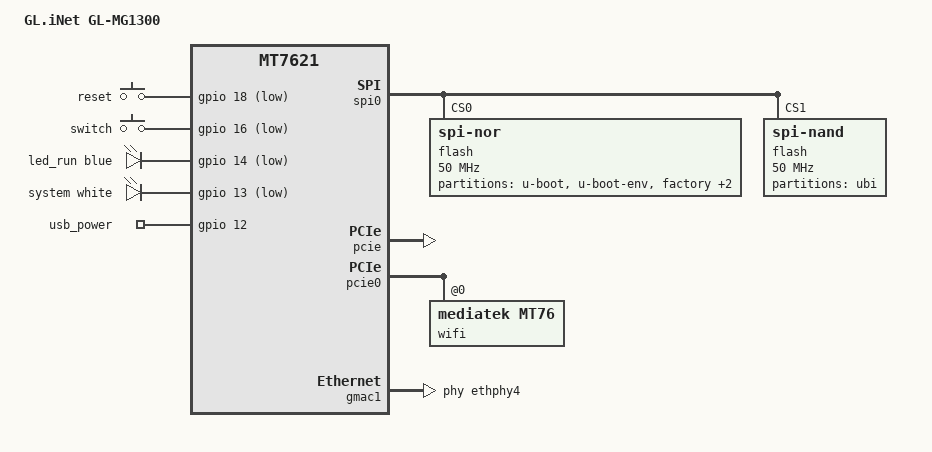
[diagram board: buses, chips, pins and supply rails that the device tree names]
// SPDX-License-Identifier: GPL-2.0-or-later OR MIT

#include "mt7621.dtsi"

#include <dt-bindings/gpio/gpio.h>
#include <dt-bindings/input/input.h>
#include <dt-bindings/leds/common.h>

/ {
	compatible = "glinet,gl-mg1300", "mediatek,mt7621-soc";
	model = "GL.iNet GL-MG1300";

	aliases {
		led-boot = &led_run;
		led-failsafe = &led_run;
		led-running = &led_run;
		led-upgrade = &led_run;
		label-mac-device = &gmac1;
	};

	chosen {
		bootargs = "console=ttyS0,115200";
	};

	keys {
		compatible = "gpio-keys";

		reset {
			label = "reset";
			gpios = <&gpio 18 GPIO_ACTIVE_LOW>;
			linux,code = <KEY_RESTART>;
		};

		switch {
			label = "switch";
			gpios = <&gpio 16 GPIO_ACTIVE_LOW>;
			linux,code = <BTN_0>;
			linux,input-type = <EV_SW>;
		};
	};

	leds {
		compatible = "gpio-leds";

		led_run: run {
			color = <LED_COLOR_ID_BLUE>;
			function = "run";
			gpios = <&gpio 14 GPIO_ACTIVE_LOW>;
		};

		system {
			color = <LED_COLOR_ID_WHITE>;
			function = "system";
			gpios = <&gpio 13 GPIO_ACTIVE_LOW>;
		};
	};

	gpio-export {
		compatible = "gpio-export";

		usb_power {
			gpio-export,name = "usb_power";
			gpio-export,output = <1>;
			gpios = <&gpio 12 GPIO_ACTIVE_HIGH>;
		};
	};
};

&spi0 {
	status = "okay";

	flash@0 {
		compatible = "jedec,spi-nor";
		reg = <0>;
		spi-max-frequency = <50000000>;
		broken-flash-reset;

		partitions {
			compatible = "fixed-partitions";
			#address-cells = <1>;
			#size-cells = <1>;

			partition@0 {
				label = "u-boot";
				reg = <0x0 0x80000>;
				read-only;
			};

			partition@80000 {
				label = "u-boot-env";
				reg = <0x80000 0x10000>;
				read-only;
			};

			partition@90000 {
				label = "factory";
				reg = <0x90000 0x10000>;
				read-only;

				nvmem-layout {
					compatible = "fixed-layout";
					#address-cells = <1>;
					#size-cells = <1>;

					eeprom_factory_0: eeprom@0 {
						reg = <0x0 0x4da8>;
					};

					macaddr_factory_4000: macaddr@4000 {
						compatible = "mac-base";
						reg = <0x4000 0x6>;
						#nvmem-cell-cells = <1>;
					};
				};
			};

			partition@a0000 {
				label = "log";
				reg = <0xa0000 0x40000>;
			};

			partition@e0000 {
				label = "CFG";
				reg = <0xe0000 0x20000>;
			};
		};
	};

	flash@1 {
		compatible = "spi-nand";
		reg = <1>;
		spi-max-frequency = <50000000>;

		partitions {
			compatible = "fixed-partitions";
			#address-cells = <1>;
			#size-cells = <1>;

			partition@0 {
				label = "ubi";
				reg = <0x0 0x0>;
				compatible = "linux,ubi";
			};
		};
	};
};

&pcie {
	status = "okay";
};

&pcie0 {
	wifi@0,0 {
		compatible = "mediatek,mt76";
		reg = <0x0000 0 0 0 0>;
		nvmem-cells = <&eeprom_factory_0>;
		nvmem-cell-names = "eeprom";

		#address-cells = <1>;
		#size-cells = <0>;

		band@0 {
			reg = <0>;
			nvmem-cells = <&macaddr_factory_4000 2>;
			nvmem-cell-names = "mac-address";
		};

		band@1 {
			reg = <1>;
			nvmem-cells = <&macaddr_factory_4000 3>;
			nvmem-cell-names = "mac-address";
		};
	};
};

&gmac0 {
	nvmem-cells = <&macaddr_factory_4000 1>;
	nvmem-cell-names = "mac-address";
};

&gmac1 {
	status = "okay";
	label = "wan";
	phy-handle = <&ethphy4>;

	nvmem-cells = <&macaddr_factory_4000 0>;
	nvmem-cell-names = "mac-address";
};

&ethphy4 {
	/delete-property/ interrupts;
};

&switch0 {
	ports {
		port@2 {
			status = "okay";
			label = "lan";
		};
	};
};

&state_default {
	gpio {
		groups = "jtag", "uart2", "wdt";
		function = "gpio";
	};
};
